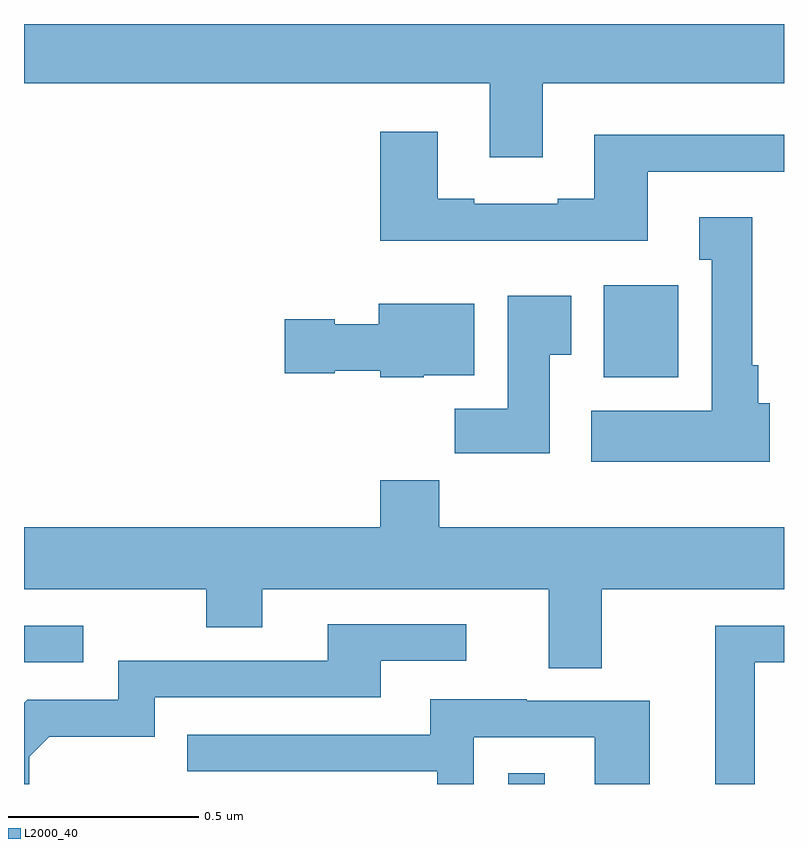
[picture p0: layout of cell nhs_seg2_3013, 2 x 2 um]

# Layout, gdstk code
import gdstk
lib = gdstk.Library(unit=1e-6, precision=1e-09)
def R(c, l, rs):  # rectangles x0, y0, x1, y1
    for r in rs: c.add(gdstk.rectangle(r[:2], r[2:], *l))
def P(c, l, *ps):  # polygons
    for p in ps: c.add(gdstk.Polygon(p, *l))
L2000_40 = (2000, 40)

nhs_seg2_3013 = lib.new_cell('nhs_seg2_3013')
R(nhs_seg2_3013, L2000_40, [(149.274,637.8,149.371,637.828), (148,638.121,148.156,638.217), (149.525,638.87,149.722,639.112)])
P(nhs_seg2_3013, L2000_40, [(149.365,639.644),(150,639.644),(150,639.8),(148,639.8),(148,639.644),(149.225,639.644),(149.225,639.45),(149.365,639.45)],
  [(149.641,639.411),(150,639.411),(150,639.508),(149.501,639.508),(149.501,639.34),(149.405,639.34),(149.405,639.327),(149.185,639.327),(149.185,639.34),(149.089,639.34),(149.089,639.517),(148.937,639.517),(148.937,639.23),(149.641,639.23)],
  [(149.962,638.802),(149.932,638.802),(149.932,638.902),(149.917,638.902),(149.917,639.292),(149.777,639.292),(149.777,639.179),(149.81,639.179),(149.81,638.782),(149.493,638.782),(149.493,638.648),(149.962,638.648)],
  [(149.383,638.929),(149.44,638.929),(149.44,639.085),(149.273,639.085),(149.273,638.788),(149.134,638.788),(149.134,638.67),(149.383,638.67)],
  [(149.052,638.876),(149.185,638.876),(149.185,639.064),(148.934,639.064),(148.934,639.01),(148.818,639.01),(148.818,639.023),(148.686,639.023),(148.686,638.881),(148.818,638.881),(148.818,638.888),(148.938,638.888),(148.938,638.87),(149.052,638.87)],
  [(149.521,638.312),(150,638.312),(150,638.476),(149.093,638.476),(149.093,638.6),(148.937,638.6),(148.937,638.476),(148,638.476),(148,638.312),(148.48,638.312),(148.48,638.213),(148.627,638.213),(148.627,638.312),(149.381,638.312),(149.381,638.104),(149.521,638.104)],
  [(148.014,637.872),(148.067,637.925),(148.344,637.925),(148.344,638.028),(148.939,638.028),(148.939,638.124),(149.164,638.124),(149.164,638.22),(148.799,638.22),(148.799,638.124),(148.248,638.124),(148.248,638.022),(148.008,638.022),(148,638.014),(148,637.8),(148.014,637.8)],
  [(149.923,638.121),(150,638.121),(150,638.217),(149.819,638.217),(149.819,637.8),(149.923,637.8)],
  [(149.184,637.923),(149.502,637.923),(149.502,637.8),(149.647,637.8),(149.647,638.019),(149.323,638.019),(149.323,638.023),(149.069,638.023),(149.069,637.929),(148.429,637.929),(148.429,637.833),(149.088,637.833),(149.088,637.8),(149.184,637.8)])

lib.write_gds('nhs_seg2_3013.gds')
